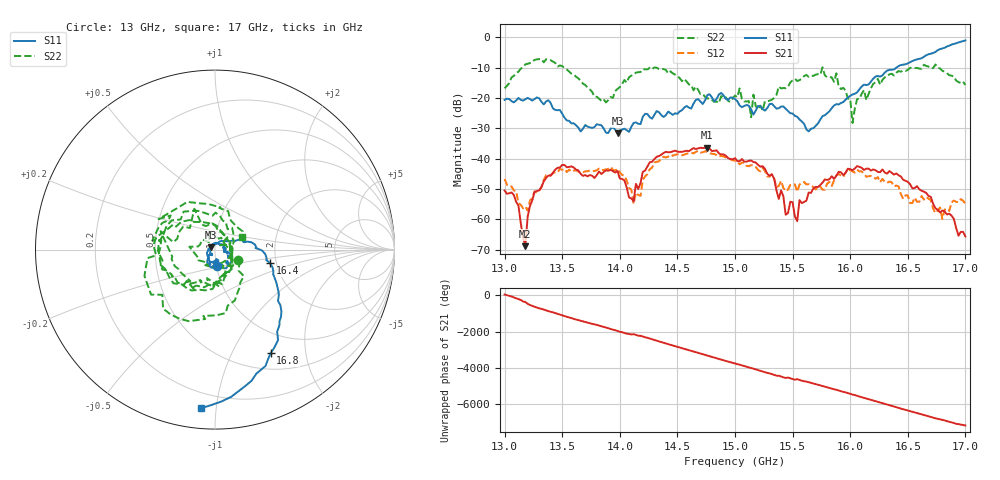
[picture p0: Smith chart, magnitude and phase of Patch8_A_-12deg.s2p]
!Keysight Technologies,P9374A,MY57211810,A.19.30.04
!Date: Friday, May 09, 2025 09:14:06
!Correction: S11(Cdelta 2-Port  )
!S21(Cdelta 2-Port  )
!S12(Cdelta 2-Port  )
!S22(Cdelta 2-Port  )
!S2P File: Measurements: S11, S21, S12, S22:
# Hz S  dB  R 50
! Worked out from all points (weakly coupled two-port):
!   201 points, 13 GHz to 17 GHz, reference 50 ohm
!   highest |S21| = -36.40 dB at 14.76 GHz (marker M1); lowest = -68.9 dB at 13.18 GHz (marker M2)
!   lowest |S11| = -31.7 dB at 13.98 GHz (marker M3), VSWR 1.05, Z = 47.8 + j1.23 ohm
!   |S11| at or under -10 dB: start of sweep to 16.4 GHz
!   |S22| runs from -28.3 to -7.2 dB; largest |S21 - S12| = 0.0032
!   S11 on the Smith chart (normalised r, x): 13 GHz: 1.01, -0.19; 16.4 GHz: 1.85, -0.31; 16.8 GHz: 0.71, -1.43; 17 GHz: 0.11, -0.91
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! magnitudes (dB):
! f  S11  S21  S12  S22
! 13 GHz  -20.6  -50.5  -46.7  -16.8
! 13.12 GHz  -20.0  -55.5  -54.6  -11.3
! 13.18 GHz  -20.4  -68.9  -55.8  -8.9
! 13.22 GHz  -20.4  -55.6  -53.8  -8.5
! 13.36 GHz  -21.1  -46.4  -45.5  -7.2
! 13.68 GHz  -30.2  -45.7  -44.5  -15.3
! 13.98 GHz  -31.7  -44.1  -43.3  -17.0
! 14.12 GHz  -28.2  -54.0  -54.9  -12.4
! 14.34 GHz  -24.7  -39.1  -40.9  -10.5
! 14.76 GHz  -19.0  -36.4  -37.8  -20.2
! 15 GHz  -20.4  -39.8  -40.6  -19.2
! 15.14 GHz  -23.8  -40.6  -42.1  -26.3
! 15.16 GHz  -25.5  -41.1  -42.3  -18.9
! 15.24 GHz  -23.7  -42.5  -43.0  -24.1
! 15.54 GHz  -26.2  -60.6  -50.9  -14.4
! 15.68 GHz  -30.0  -49.8  -49.3  -12.7
! 15.88 GHz  -22.0  -45.6  -45.6  -11.9
! 16.02 GHz  -18.8  -43.8  -44.2  -28.3
! 16.34 GHz  -10.7  -44.1  -47.6  -12.2
! 16.4 GHz  -10.0  -44.9  -48.9  -11.7
! 16.8 GHz  -3.7  -57.1  -59.9  -11.0
! 17 GHz  -1.0  -65.7  -54.9  -15.7
